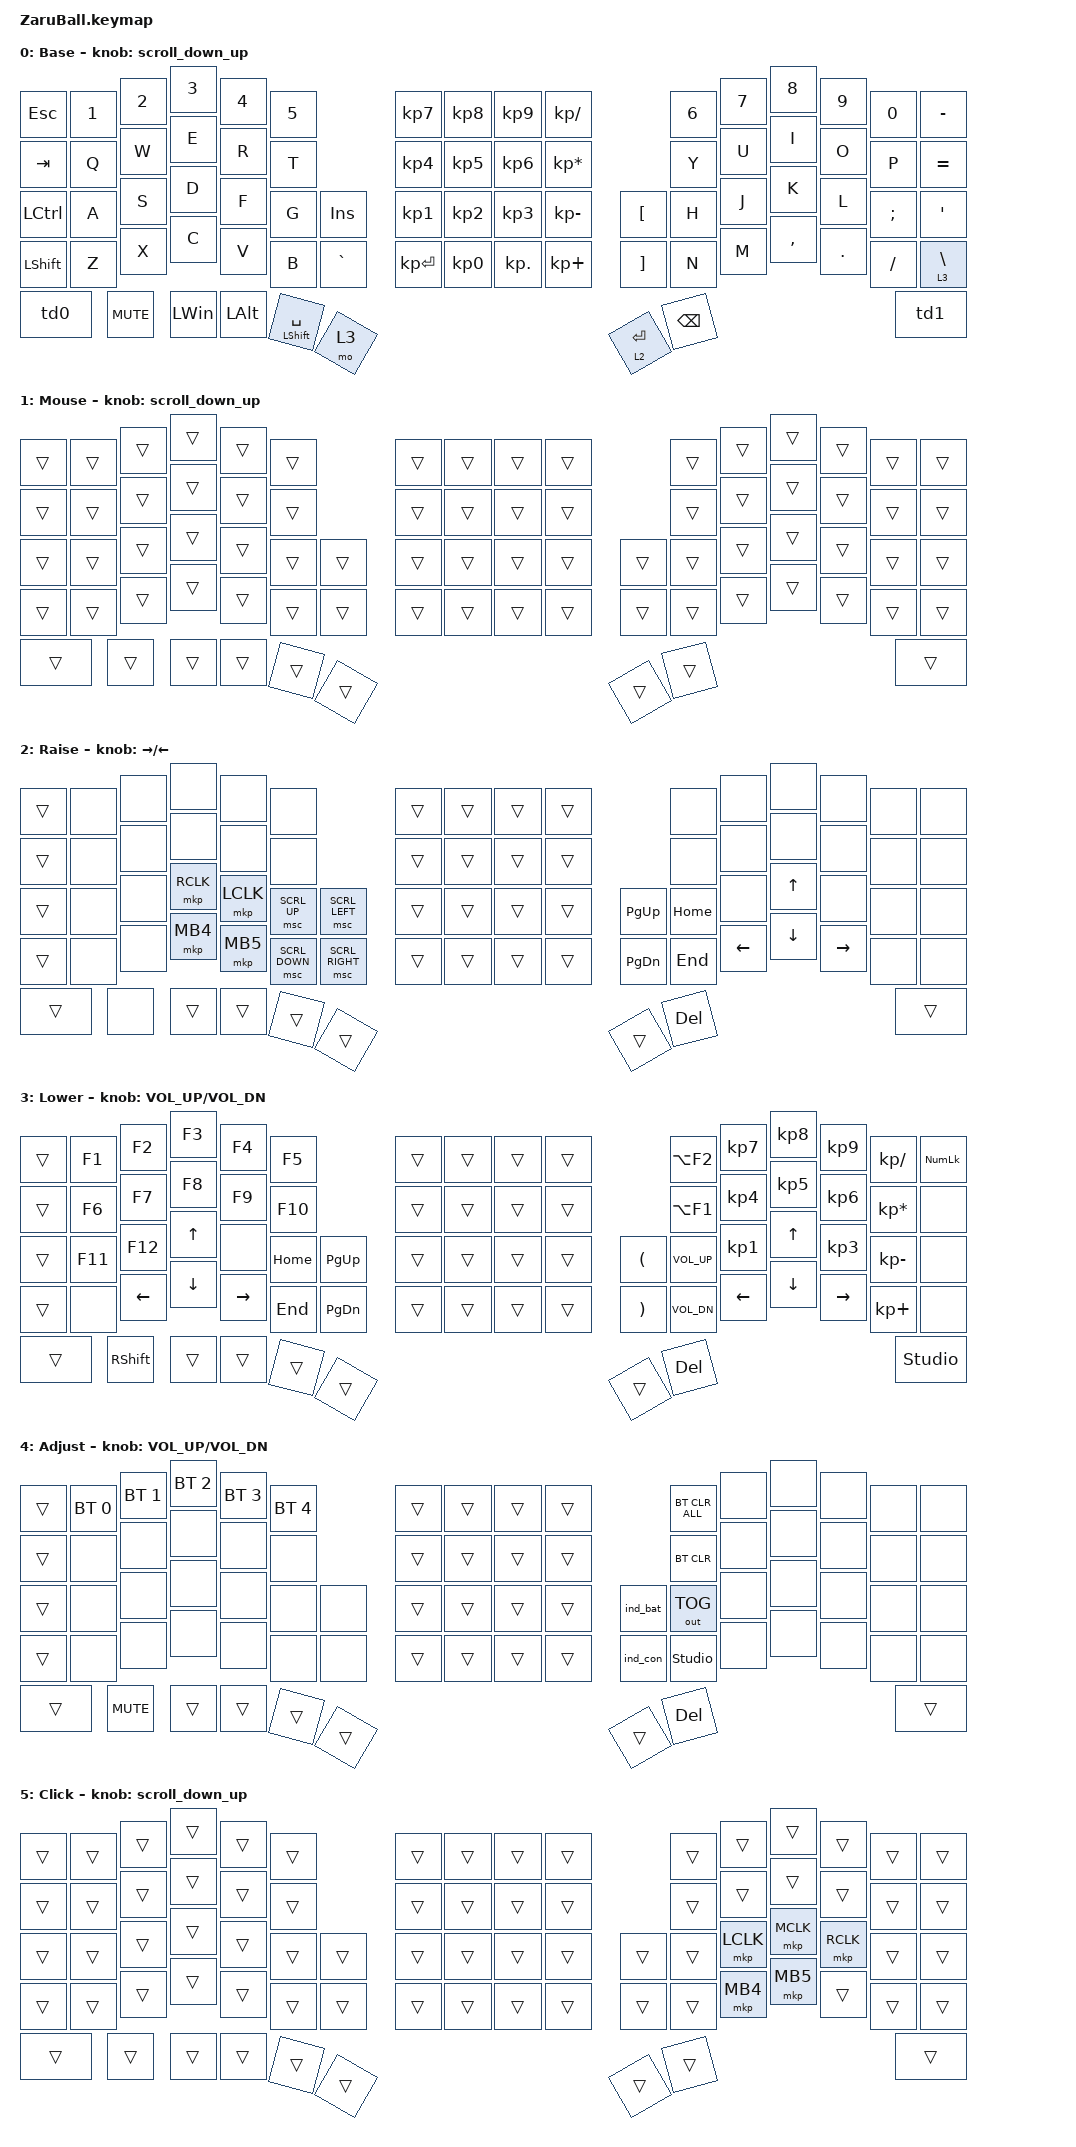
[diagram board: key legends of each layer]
//#include <dt-bindings/zmk/mouse.h>

#include <behaviors/rgbled_widget.dtsi>
#include <input/processors.dtsi>
#include <dt-bindings/zmk/input_transform.h>
#include <behaviors.dtsi>
#include <dt-bindings/zmk/bt.h>
#include <dt-bindings/zmk/keys.h>
#include <dt-bindings/zmk/outputs.h>
#include <dt-bindings/zmk/pointing.h>

#define BASE     0
#define MOUSE    1
#define LOWER    2
#define RAISE    3
#define ADJUST   4
#define SCROLL   2

// スクロール量の設定

#define ZMK_POINTING_DEFAULT_SCRL_VAL 100

&trackball_listener {
    input-processors = <
                         &zip_xy_transform (INPUT_TRANSFORM_XY_SWAP | INPUT_TRANSFORM_Y_INVERT | INPUT_TRANSFORM_X_INVERT)
                         &zip_temp_layer MOUSE 900
    >;

    scroller {
        layers = <SCROLL>;
        input-processors = <
                            &zip_xy_transform (INPUT_TRANSFORM_XY_SWAP | INPUT_TRANSFORM_X_INVERT)
                            &zip_xy_scaler 1 20
                            &zip_xy_to_scroll_mapper
        >;
    };
};

/ {
    conditional_layers {
        compatible = "zmk,conditional-layers";

        tri_layer {
            if-layers = <3 2>;
            then-layer = <4>;
        };
    };
};

/ {
    behaviors {
        // スクロール用のbehaviorの設定

        scroll_down_up: behavior_sensor_rotate_mouse_wheel_down_up {
            compatible = "zmk,behavior-sensor-rotate";
            #sensor-binding-cells = <0>;
            bindings = <&msc SCRL_DOWN>, <&msc SCRL_UP>;

            tap-ms = <20>; // スクロールのタップ時間
        };

        td0: tap_dance_0 {
            compatible = "zmk,behavior-tap-dance";
            #binding-cells = <0>;
            tapping-term-ms = <200>;
            bindings = <&lt 5 LANG2>, <&mo 2>, <&mo 1>;
        };

        td1: tap_dance_1 {
            compatible = "zmk,behavior-tap-dance";
            #binding-cells = <0>;
            tapping-term-ms = <200>;
            bindings = <&lt 5 LANG1>, <&mo 2>, <&mo 1>;
        };

        // Customed Hold-Tap for SandS

        SandS: SandS {
            compatible = "zmk,behavior-hold-tap";
            #binding-cells = <2>;
            flavor = "tap-unless-interrupted";
            tapping-term-ms = <500>;
            quick-tap-ms = <500>;
            bindings = <&kp>, <&kp>;

            display-name = "SandS";
        };
    };
};

// &td0 + mouse button positions on the base layer
/ {
    combos {
        compatible = "zmk,combos";

        td0_j_lclk {
            timeout-ms = <200>;
            key-positions = <68 45>;
            layers = <0>;
            bindings = <&mkp LCLK>;
            slow-release;
        };

        td0_k_mclk {
            timeout-ms = <200>;
            key-positions = <68 46>;
            layers = <0>;
            bindings = <&mkp MCLK>;
            slow-release;
        };

        td0_l_rclk {
            timeout-ms = <200>;
            key-positions = <68 47>;
            layers = <0>;
            bindings = <&mkp RCLK>;
            slow-release;
        };

        td0_m_mb4 {
            timeout-ms = <200>;
            key-positions = <68 63>;
            layers = <0>;
            bindings = <&mkp MB4>;
            slow-release;
        };

        td0_comma_mb5 {
            timeout-ms = <200>;
            key-positions = <68 64>;
            layers = <0>;
            bindings = <&mkp MB5>;
            slow-release;
        };

        mouse_j_k_lclk {
            timeout-ms = <200>;
            key-positions = <45 46>;
            layers = <1>;
            bindings = <&mkp LCLK>;
            slow-release;
        };

        mouse_i_k_mclk {
            timeout-ms = <200>;
            key-positions = <44 46>;
            layers = <1>;
            bindings = <&mkp MCLK>;
            slow-release;
        };

        mouse_l_k_rclk {
            timeout-ms = <200>;
            key-positions = <47 46>;
            layers = <1>;
            bindings = <&mkp RCLK>;
            slow-release;
        };

        mouse_n_m_mb4 {
            timeout-ms = <200>;
            key-positions = <63 64>;
            layers = <1>;
            bindings = <&mkp MB4>;
            slow-release;
        };

        mouse_comma_dot_mb5 {
            timeout-ms = <200>;
            key-positions = <64 65>;
            layers = <1>;
            bindings = <&mkp MB5>;
            slow-release;
        };
    };
};

&sl { release-after-ms = <250>; }; // time needed for double click (for mkp_exit_AML)
/ {
    macros {
        // When in AML, move to default layer when key (except mouse button) pressed

        to_layer_0: to_layer_0 {
            compatible = "zmk,behavior-macro-one-param";
            #binding-cells = <1>;
            bindings = <&to 0 &macro_param_1to1 &kp MACRO_PLACEHOLDER>;
            label = "TO_layer_0";
        };

        // When LCLK pressed, exit AML (after 250ms cause by sticky layer

        mkp_exit_AML: mkp_exit_AML {
            compatible = "zmk,behavior-macro-one-param";
            #binding-cells = <1>;
            bindings =
                <&macro_press>,
                <&macro_param_1to1 &mkp MACRO_PLACEHOLDER>,
                <&macro_pause_for_release>,
                <&macro_release>,
                <&macro_param_1to1 &mkp MACRO_PLACEHOLDER>,
                <&macro_tap>,
                <&sl 1>;

            label = "MKP_EXIT_AML";
        };
    };
};

/ {
    keymap {
        compatible = "zmk,keymap";

        base_layer {
            display-name = "Base";
            sensor-bindings = <&scroll_down_up>;
            bindings = <
&kp ESC           &kp N1      &kp N2  &kp N3    &kp N4        &kp N5                           &kp KP_N7     &kp KP_N8  &kp KP_N9   &kp KP_DIVIDE                 &kp NUMBER_6  &kp N7  &kp N8     &kp N9   &kp N0    &kp MINUS
&kp TAB           &kp Q       &kp W   &kp E     &kp R         &kp T                            &kp KP_N4     &kp KP_N5  &kp KP_N6   &kp KP_MULTIPLY               &kp Y         &kp U   &kp I      &kp O    &kp P     &kp EQUAL
&kp LEFT_CONTROL  &kp A       &kp S   &kp D     &kp F         &kp G               &kp INS      &kp KP_N1     &kp KP_N2  &kp KP_N3   &kp KP_MINUS       &kp LBKT   &kp H         &kp J   &kp K      &kp L    &kp SEMI  &kp SQT
&kp LSHFT         &kp Z       &kp X   &kp C     &kp V         &kp B               &kp GRAVE    &kp KP_ENTER  &kp KP_N0  &kp KP_DOT  &kp KP_PLUS        &kp RBKT   &kp N         &kp M   &kp COMMA  &kp DOT  &kp FSLH  &lt 3 BACKSLASH
&td0              &kp C_MUTE          &kp LWIN  &kp LEFT_ALT  &SandS LSHFT SPACE  &mo 3                                                                &lt 2 RET  &kp BSPC                                            &td1
            >;
        };

        mouse_layer {
            display-name = "Mouse";
            sensor-bindings = <&scroll_down_up>;
            bindings = <
&trans  &trans  &trans  &trans  &trans  &trans          &trans  &trans  &trans  &trans          &trans  &trans  &trans  &trans  &trans  &trans
&trans  &trans  &trans  &trans  &trans  &trans          &trans  &trans  &trans  &trans          &trans  &trans  &trans  &trans  &trans  &trans
&trans  &trans  &trans  &trans  &trans  &trans  &trans  &trans  &trans  &trans  &trans  &trans  &trans  &trans  &trans  &trans  &trans  &trans
&trans  &trans  &trans  &trans  &trans  &trans  &trans  &trans  &trans  &trans  &trans  &trans  &trans  &trans  &trans  &trans  &trans  &trans
&trans  &trans          &trans  &trans  &trans  &trans                                  &trans  &trans                                  &trans
            >;
        };

        raise_layer {
            display-name = "Raise";
            sensor-bindings = <&inc_dec_kp RIGHT LEFT>;
            bindings = <
&trans  &none  &none  &none      &none      &none                              &trans  &trans  &trans  &trans               &none     &none     &none     &none      &none  &none
&trans  &none  &none  &none      &none      &none                              &trans  &trans  &trans  &trans               &none     &none     &none     &none      &none  &none
&trans  &none  &none  &mkp RCLK  &mkp LCLK  &msc SCRL_UP    &msc SCRL_LEFT     &trans  &trans  &trans  &trans    &kp PG_UP  &kp HOME  &none     &kp UP    &none      &none  &none
&trans  &none  &none  &mkp MB4   &mkp MB5   &msc SCRL_DOWN  &msc SCRL_RIGHT    &trans  &trans  &trans  &trans    &kp PG_DN  &kp END   &kp LEFT  &kp DOWN  &kp RIGHT  &none  &none
&trans  &none         &trans     &trans     &trans          &trans                                               &trans     &kp DEL                                         &trans
            >;
        };

        lower_layer {
            display-name = "Lower";
            sensor-bindings = <&inc_dec_kp C_VOL_UP C_VOL_DN>;
            bindings = <
&trans  &kp F1     &kp F2    &kp F3    &kp F4     &kp F5                 &trans  &trans  &trans  &trans              &kp LA(F2)    &kp KP_N7       &kp KP_N8       &kp KP_N9        &kp KP_SLASH     &kp KP_NUMLOCK
&trans  &kp F6     &kp F7    &kp F8    &kp F9     &kp F10                &trans  &trans  &trans  &trans              &kp LA(F1)    &kp KP_N4       &kp KP_N5       &kp KP_N6        &kp KP_MULTIPLY  &none
&trans  &kp F11    &kp F12   &kp UP    &none      &kp HOME  &kp PG_UP    &trans  &trans  &trans  &trans    &kp LPAR  &kp C_VOL_UP  &kp KP_N1       &kp UP_ARROW    &kp KP_N3        &kp KP_MINUS     &none
&trans  &none      &kp LEFT  &kp DOWN  &kp RIGHT  &kp END   &kp PG_DN    &trans  &trans  &trans  &trans    &kp RPAR  &kp C_VOL_DN  &kp LEFT_ARROW  &kp DOWN_ARROW  &kp RIGHT_ARROW  &kp KP_PLUS      &none
&trans  &kp RSHFT            &trans    &trans     &trans    &trans                                         &trans    &kp DEL                                                                         &studio_unlock
            >;
        };

        adjust_layer {
            display-name = "Adjust";
            sensor-bindings = <&inc_dec_kp C_VOL_UP C_VOL_DN>;
            bindings = <
&trans  &bt BT_SEL 0  &bt BT_SEL 1  &bt BT_SEL 2  &bt BT_SEL 3  &bt BT_SEL 4            &trans  &trans  &trans  &trans              &bt BT_CLR_ALL  &none  &none  &none  &none  &none
&trans  &none         &none         &none         &none         &none                   &trans  &trans  &trans  &trans              &bt BT_CLR      &none  &none  &none  &none  &none
&trans  &none         &none         &none         &none         &none         &none     &trans  &trans  &trans  &trans    &ind_bat  &out OUT_TOG    &none  &none  &none  &none  &none
&trans  &none         &none         &none         &none         &none         &none     &trans  &trans  &trans  &trans    &ind_con  &studio_unlock  &none  &none  &none  &none  &none
&trans  &kp C_MUTE                  &trans        &trans        &trans        &trans                                      &trans    &kp DEL                                     &trans
            >;
        };

        click_layer {
            display-name = "Click";
            sensor-bindings = <&scroll_down_up>;
            bindings = <
&trans  &trans  &trans  &trans  &trans  &trans          &trans  &trans  &trans  &trans          &trans  &trans  &trans  &trans  &trans  &trans
&trans  &trans  &trans  &trans  &trans  &trans          &trans  &trans  &trans  &trans          &trans  &trans  &trans  &trans  &trans  &trans
&trans  &trans  &trans  &trans  &trans  &trans  &trans  &trans  &trans  &trans  &trans  &trans  &trans  &mkp LCLK  &mkp MCLK  &mkp RCLK  &trans  &trans
&trans  &trans  &trans  &trans  &trans  &trans  &trans  &trans  &trans  &trans  &trans  &trans  &trans  &mkp MB4   &mkp MB5   &trans     &trans  &trans
&trans  &trans          &trans  &trans  &trans  &trans                                  &trans  &trans                                  &trans
            >;
        };

        extra2 { status = "reserved"; };
    };
};
